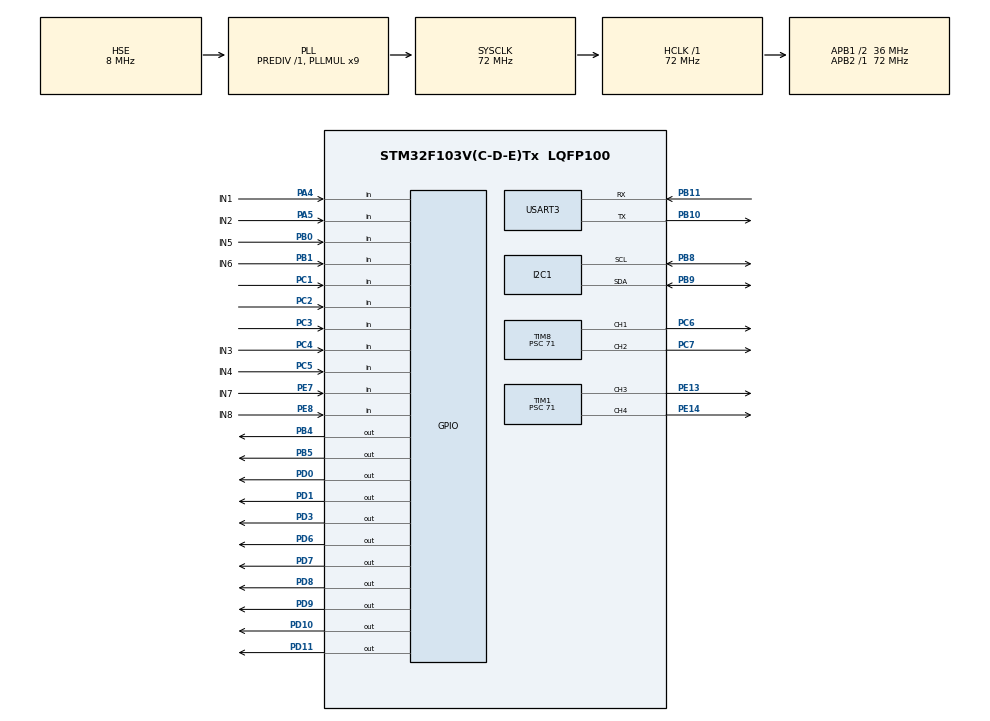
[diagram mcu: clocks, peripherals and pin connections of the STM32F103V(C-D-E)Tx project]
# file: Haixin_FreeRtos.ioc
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Dma.Request0=USART3_RX
Dma.USART3_RX.0.Direction=DMA_PERIPH_TO_MEMORY
Dma.USART3_RX.0.Instance=DMA1_Channel3
Dma.USART3_RX.0.MemDataAlignment=DMA_MDATAALIGN_BYTE
Dma.USART3_RX.0.MemInc=DMA_MINC_ENABLE
Dma.USART3_RX.0.Mode=DMA_CIRCULAR
Dma.USART3_RX.0.PeriphDataAlignment=DMA_PDATAALIGN_BYTE
Dma.USART3_RX.0.PeriphInc=DMA_PINC_DISABLE
Dma.USART3_RX.0.Priority=DMA_PRIORITY_HIGH
Mcu.Family=STM32F1
Mcu.Name=STM32F103V(C-D-E)Tx
Mcu.Package=LQFP100
NVIC.DMA1_Channel3_IRQn=true\:0\:0\:false\:false\:true\:false\:true\:true
NVIC.PriorityGroup=NVIC_PRIORITYGROUP_4
NVIC.TIM2_IRQn=true\:0\:0\:false\:false\:true\:true\:true\:true
NVIC.TIM4_IRQn=true\:0\:0\:false\:false\:true\:true\:true\:true
NVIC.USART3_IRQn=true\:0\:0\:false\:false\:true\:true\:true\:true
OSC_IN.Mode=HSE-External-Oscillator
OSC_IN.Signal=RCC_OSC_IN
OSC_OUT.Mode=HSE-External-Oscillator
OSC_OUT.Signal=RCC_OSC_OUT
PA13.Mode=Serial_Wire
PA13.Signal=SYS_JTMS-SWDIO
PA14.Mode=Serial_Wire
PA14.Signal=SYS_JTCK-SWCLK
PA4.GPIO_Label=IN1
PA4.Signal=GPIO_Input
PA5.GPIO_Label=IN2
PA5.Signal=GPIO_Input
PB0.GPIO_Label=IN5
PB0.Signal=GPIO_Input
PB1.GPIO_Label=IN6
PB1.Signal=GPIO_Input
PB10.Mode=Asynchronous
PB10.Signal=USART3_TX
PB11.Mode=Asynchronous
PB11.Signal=USART3_RX
PB4.Signal=GPIO_Output
PB5.Signal=GPIO_Output
PB8.Mode=I2C
PB8.Signal=I2C1_SCL
PB9.Mode=I2C
PB9.Signal=I2C1_SDA
PC1.GPIO_PuPd=GPIO_PULLUP
PC1.Signal=GPIO_Input
PC14-OSC32_IN.Mode=LSE-External-Oscillator
PC14-OSC32_IN.Signal=RCC_OSC32_IN
PC15-OSC32_OUT.Mode=LSE-External-Oscillator
PC15-OSC32_OUT.Signal=RCC_OSC32_OUT
PC2.GPIO_PuPd=GPIO_PULLUP
PC2.Signal=GPIO_Input
PC3.GPIO_PuPd=GPIO_PULLUP
PC3.Signal=GPIO_Input
PC4.GPIO_Label=IN3
PC4.Signal=GPIO_Input
PC5.GPIO_Label=IN4
PC5.Signal=GPIO_Input
PC6.Signal=S_TIM8_CH1
PC7.Signal=S_TIM8_CH2
PD0.PinState=GPIO_PIN_SET
PD0.Signal=GPIO_Output
PD1.PinState=GPIO_PIN_SET
PD1.Signal=GPIO_Output
PD10.Signal=GPIO_Output
PD11.PinState=GPIO_PIN_SET
PD11.Signal=GPIO_Output
PD3.PinState=GPIO_PIN_SET
PD3.Signal=GPIO_Output
PD6.Signal=GPIO_Output
PD7.Signal=GPIO_Output
PD8.PinState=GPIO_PIN_SET
PD8.Signal=GPIO_Output
PD9.PinState=GPIO_PIN_SET
PD9.Signal=GPIO_Output
PE13.Signal=S_TIM1_CH3
PE14.Signal=S_TIM1_CH4
PE7.GPIO_Label=IN7
PE7.Signal=GPIO_Input
PE8.GPIO_Label=IN8
PE8.Signal=GPIO_Input
ProjectManager.HeapSize=0x200
ProjectManager.StackSize=0x400
ProjectManager.TargetToolchain=MDK-ARM V5.32
RCC.AHBFreq_Value=72000000
RCC.APB1CLKDivider=RCC_HCLK_DIV2
RCC.APB1Freq_Value=36000000
RCC.APB1TimFreq_Value=72000000
RCC.APB2Freq_Value=72000000
RCC.APB2TimFreq_Value=72000000
RCC.HCLKFreq_Value=72000000
RCC.PLLMUL=RCC_PLL_MUL9
RCC.PLLSourceVirtual=RCC_PLLSOURCE_HSE
RCC.SYSCLKFreq_VALUE=72000000
RCC.SYSCLKSource=RCC_SYSCLKSOURCE_PLLCLK
RCC.USBFreq_Value=72000000
SH.S_TIM1_CH3.0=TIM1_CH3,PWM Generation3 CH3
SH.S_TIM1_CH4.0=TIM1_CH4,PWM Generation4 CH4
SH.S_TIM8_CH1.0=TIM8_CH1,PWM Generation1 CH1
SH.S_TIM8_CH2.0=TIM8_CH2,PWM Generation2 CH2
TIM1.Channel-PWM\ Generation3\ CH3=TIM_CHANNEL_3
TIM1.Channel-PWM\ Generation4\ CH4=TIM_CHANNEL_4
TIM1.Period=19999
TIM1.Prescaler=71
TIM2.AutoReloadPreload=TIM_AUTORELOAD_PRELOAD_ENABLE
TIM2.Period=999
TIM2.Prescaler=7199
TIM4.AutoReloadPreload=TIM_AUTORELOAD_PRELOAD_ENABLE
TIM4.Period=99
TIM4.Prescaler=7199
TIM8.Channel-PWM\ Generation1\ CH1=TIM_CHANNEL_1
TIM8.Channel-PWM\ Generation2\ CH2=TIM_CHANNEL_2
TIM8.Period=1000-1
TIM8.Prescaler=71
USART3.VirtualMode=VM_ASYNC
VP_TIM1_VS_ClockSourceINT.Mode=Internal
VP_TIM2_VS_ClockSourceINT.Mode=Internal
VP_TIM4_VS_ClockSourceINT.Mode=Internal
VP_TIM8_VS_ClockSourceINT.Mode=Internal
board=custom

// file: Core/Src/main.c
/* USER CODE BEGIN Header */
/**
  ******************************************************************************
  * @file           : main.c
  ******************************************************************************
  * @attention
  *
  * Copyright (c) 2025 STMicroelectronics.
  * All rights reserved.
  *
  * This software is licensed under terms that can be found in the LICENSE file
  * in the root directory of this software component.
  * If no LICENSE file comes with this software, it is provided AS-IS.
  *
  ******************************************************************************
  */
/* USER CODE END Header */
#include "main.h"
#include "dma.h"
#include "i2c.h"
#include "tim.h"
#include "usart.h"
#include "gpio.h"

/* USER CODE BEGIN Includes */
#include "OLED.h"
#include "motor.h"
#include "key.h"
#include "PID_tracing.h"
#include "renwu.h"
#include "buzzer.h"
#include "servo.h"
#include "jy61p.h"
#include "gyro_control.h"
/* USER CODE END Includes */

/* USER CODE BEGIN PV */
uint32_t sys_tick=0;
int Encoder_Left,Encoder_Right;
uint8_t display_buf[20];
uint8_t key_num=0,menu=0;

uint8_t jy61p_rx_buffer[11];

/* USER CODE END PV */

void SystemClock_Config(void);

/* USER CODE BEGIN 0 */
//void Read(void)
//{
//  if(uwTick-sys_tick>10)//10ms
//  {
//    sys_tick=uwTick;
//    Encoder_Right=-Read_Speed(&htim3);
//    Encoder_Left=Read_Speed(&htim2);
//  }
//  else if(uwTick-sys_tick>20)//20ms
//  {
//
//  }
//}
/* USER CODE END 0 */

int main(void)
{

  /* MCU Configuration--------------------------------------------------------*/

  /* Reset of all peripherals, Initializes the Flash interface and the Systick. */
  HAL_Init();

  /* Configure the system clock */
  SystemClock_Config();

  /* Initialize all configured peripherals */
  MX_GPIO_Init();
  MX_DMA_Init();
  MX_USART3_UART_Init();
  MX_TIM2_Init();
  MX_TIM8_Init();
  MX_I2C1_Init();
  MX_TIM1_Init();
  MX_TIM4_Init();
  /* USER CODE BEGIN 2 */
  OLED_Init();
  Motor_Init();
  Servo_Init();

  uint8_t cmd1[] = {0xFF, 0xAA, 0x02, 0x02, 0x00};
  HAL_UART_Transmit(&huart3, cmd1, 5, 100);
  HAL_Delay(100);

  uint8_t cmd2[] = {0xFF, 0xAA, 0x03, 0x06, 0x00};
  HAL_UART_Transmit(&huart3, cmd2, 5, 100);
  HAL_Delay(100);

  HAL_UART_Receive_DMA(&huart3, jy61p_rx_buffer, 11);

  Gyro_Timer_Start();
  /* USER CODE END 2 */

  /* Infinite loop */
  /* USER CODE BEGIN WHILE */
  Buzzer_blink();
  while (1)
  {
//    Read();
    key_num=key();

    if(key_num==1)
    {
      if(renwu_flag==0)
      {
        if (menu==0){menu=1;}
      else if (menu==1){menu=0;}
      }
    }
    if (key_num==2 && menu==1)
    {
      if (renwu_flag==0){renwu_flag=1;}
      else if (renwu_flag==1){renwu_flag=0;}
    }
    if (key_num==3 && menu==1)
    {
      if (renwu_flag==0){renwu_flag=2;}
      else if (renwu_flag==2){renwu_flag=0;}
    }

    if (menu==0)
    {
      OLED_Clear();
      OLED_ShowString(0,0,"循迹测试:",OLED_8X16);
      read_tracing_data();
      show_tracing_data();
//      sprintf((char *)display_buf,"转速_L:%3d",Encoder_Left);
//      OLED_ShowString(0,16,(char *)display_buf,OLED_8X16);
//      sprintf((char *)display_buf,"转速_R:%3d",Encoder_Right);
//      OLED_ShowString(0,32,(char *)display_buf,OLED_8X16);
      sprintf((char *)display_buf,"z:%.1f",Yaw);
      OLED_ShowString(0,16,(char *)display_buf,OLED_8X16);
      OLED_Update();
    }
    else if (menu==1)
    {
      OLED_Clear();
      if (renwu_flag==0)
      {
        OLED_ShowString(0,0,"任务选择:",OLED_8X16);
        OLED_ShowString(0,16,"1. A",OLED_8X16);
        OLED_ShowString(0,32,"2. B",OLED_8X16);
        Load(0,0);
      }
      if (renwu_flag==1)
      {
        OLED_ShowString(0,0,"任务A:",OLED_8X16);
        read_tracing_data();
        show_tracing_data();
//        sprintf((char *)display_buf,"转速_L:%3d",Encoder_Left);
//        OLED_ShowString(0,16,(char *)display_buf,OLED_8X16);
//        sprintf((char *)display_buf,"转速_R:%3d",Encoder_Right);
//        OLED_ShowString(0,32,(char *)display_buf,OLED_8X16);
        sprintf((char *)display_buf,"z:%.1f",Yaw);
        OLED_ShowString(0,16,(char *)display_buf,OLED_8X16);
      }
      if (renwu_flag==2)
      {
        OLED_ShowString(0,0,"任务B:",OLED_8X16);
        read_tracing_data();
        show_tracing_data();
//        sprintf((char *)display_buf,"转速_L:%3d",Encoder_Left);
//        OLED_ShowString(0,16,(char *)display_buf,OLED_8X16);
//        sprintf((char *)display_buf,"转速_R:%3d",Encoder_Right);
//        OLED_ShowString(0,32,(char *)display_buf,OLED_8X16);
        sprintf((char *)display_buf,"z:%.1f",Yaw);
        OLED_ShowString(0,16,(char *)display_buf,OLED_8X16);
      }
      OLED_Update();
    }

    renwu();

    /* USER CODE END WHILE */

  }
}

void SystemClock_Config(void)
{
  RCC_OscInitTypeDef RCC_OscInitStruct = {0};
  RCC_ClkInitTypeDef RCC_ClkInitStruct = {0};

  /** Initializes the RCC Oscillators according to the specified parameters
  * in the RCC_OscInitTypeDef structure.
  */
  RCC_OscInitStruct.OscillatorType = RCC_OSCILLATORTYPE_HSE;
  RCC_OscInitStruct.HSEState = RCC_HSE_ON;
  RCC_OscInitStruct.HSEPredivValue = RCC_HSE_PREDIV_DIV1;
  RCC_OscInitStruct.HSIState = RCC_HSI_ON;
  RCC_OscInitStruct.PLL.PLLState = RCC_PLL_ON;
  RCC_OscInitStruct.PLL.PLLSource = RCC_PLLSOURCE_HSE;
  RCC_OscInitStruct.PLL.PLLMUL = RCC_PLL_MUL9;
  if (HAL_RCC_OscConfig(&RCC_OscInitStruct) != HAL_OK)
  {
    Error_Handler();
  }

  /** Initializes the CPU, AHB and APB buses clocks
  */
  RCC_ClkInitStruct.ClockType = RCC_CLOCKTYPE_HCLK|RCC_CLOCKTYPE_SYSCLK
                              |RCC_CLOCKTYPE_PCLK1|RCC_CLOCKTYPE_PCLK2;
  RCC_ClkInitStruct.SYSCLKSource = RCC_SYSCLKSOURCE_PLLCLK;
  RCC_ClkInitStruct.AHBCLKDivider = RCC_SYSCLK_DIV1;
  RCC_ClkInitStruct.APB1CLKDivider = RCC_HCLK_DIV2;
  RCC_ClkInitStruct.APB2CLKDivider = RCC_HCLK_DIV1;

  if (HAL_RCC_ClockConfig(&RCC_ClkInitStruct, FLASH_LATENCY_2) != HAL_OK)
  {
    Error_Handler();
  }
}

/* USER CODE BEGIN 4 */
void HAL_UART_RxCpltCallback(UART_HandleTypeDef *huart)
{
    if(huart == &huart3)
    {

        for(int i = 0; i < 11; i++) {
            jy61p_ReceiveData(jy61p_rx_buffer[i]);
        }
    }
}

void HAL_TIM_PeriodElapsedCallback(TIM_HandleTypeDef *htim)
{
    if (htim->Instance == TIM4)
    {
        GyroControl_Task();
    }
    else if (htim->Instance == TIM2)
    {
        motor_tracing_pid_0_task();
    }
}
/* USER CODE END 4 */

void Error_Handler(void)
{
  __disable_irq();
  while (1)
  {
  }
}
